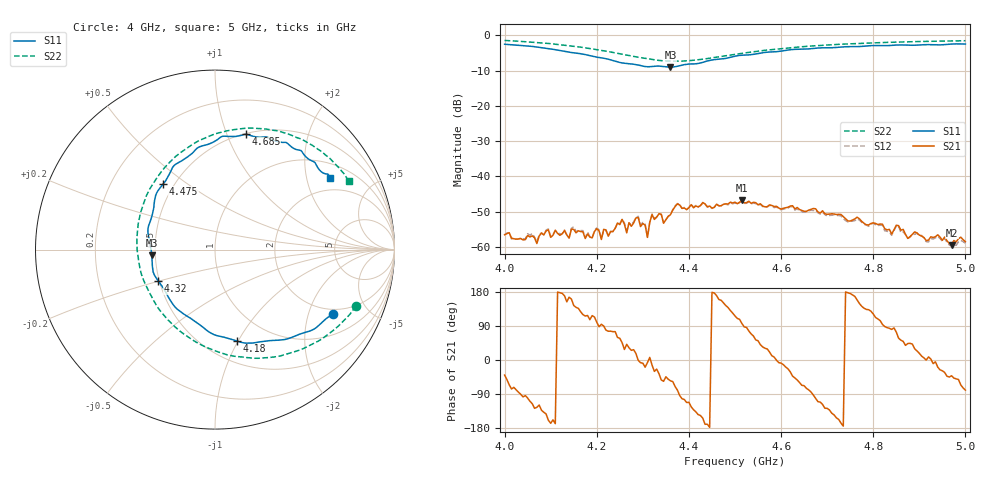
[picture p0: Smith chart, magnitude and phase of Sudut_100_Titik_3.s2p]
# Hz S RI R 50
! CMT, C1220, 16058040, 17.2.0/1
! Date: 15/08/2018 12:38:19
! Data: Format (Calibration Info)
! Freq  S11: Re/Im (F2)  S21: Re/Im (F2)  S12: Re/Im (F2)  S22: Re/Im (F2)
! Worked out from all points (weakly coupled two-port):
!   201 points, 4 GHz to 5 GHz, reference 50 ohm
!   highest |S21| = -46.80 dB at 4.515 GHz (marker M1); lowest = -59.4 dB at 4.97 GHz (marker M2)
!   lowest |S11| = -9.0 dB at 4.36 GHz (marker M3), VSWR 2.09, Z = 23.9 - j1.75 ohm
!   |S11| at or under -10 dB: nowhere
!   |S22| runs from -7.3 to -1.5 dB; largest |S21 - S12| = 0.00023
!   S11 on the Smith chart (normalised r, x): 4 GHz: 1.78, -2.91; 4.18 GHz: 0.70, -0.99; 4.32 GHz: 0.49, -0.20; 4.475 GHz: 0.44, +0.41; 4.685 GHz: 0.51, +1.17; 5 GHz: 1.51, +2.76
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4e9  0.6564 -0.3594  0.00114 -0.000952  0.00119 -0.000903  0.7856 -0.3142
4.07e9  0.5023 -0.4612  -0.000638 -0.000919  -0.00066 -0.000972  0.6406 -0.4642
4.095e9  0.4218 -0.491  -0.00164 -0.000625  -0.00166 -0.000706  0.5715 -0.5119
4.17e9  0.1555 -0.5189  -0.000814 0.00142  -0.000906 0.00144  0.3034 -0.6011
4.18e9  0.1224 -0.51  -0.000706 0.00135  -0.000727 0.00146  0.2608 -0.6038
4.21e9  0.0126 -0.4797  -9.52e-05 0.00127  -7.04e-05 0.00131  0.1315 -0.5967
4.255e9  -0.1366 -0.3823  0.00172 0.00176  0.0017 0.0018  -0.0656 -0.5363
4.265e9  -0.1766 -0.3571  0.00119 0.00105  0.00129 0.00108  -0.1071 -0.5142
4.29e9  -0.2444 -0.2895  0.00261 -4.23e-05  0.00272 -0.000105  -0.2097 -0.4417
4.31e9  -0.2902 -0.2111  0.00136 -0.000162  0.00136 -0.000184  -0.279 -0.3719
4.32e9  -0.3168 -0.1744  0.0028 -0.000671  0.00285 -0.000678  -0.3117 -0.3327
4.335e9  -0.3444 -0.1249  0.00238 -0.00175  0.00233 -0.00185  -0.3507 -0.2673
4.36e9  -0.3518 -0.0319  0.00165 -0.00235  0.00158 -0.0024  -0.4053 -0.1522
4.375e9  -0.3625 0.0383  0.000744 -0.004  0.000648 -0.00408  -0.4232 -0.0768
4.475e9  -0.2884 0.3671  -0.0035 0.00199  -0.00352 0.00205  -0.3381 0.3772
4.5e9  -0.2428 0.4448  -0.00191 0.00387  -0.00182 0.00382  -0.2782 0.4595
4.515e9  -0.222 0.4737  -0.000499 0.00454  -0.000433 0.00447  -0.2367 0.5028
4.67e9  0.144 0.636  -0.000154 -0.00351  -0.000183 -0.00328  0.2085 0.6767
4.685e9  0.1703 0.642  -0.00109 -0.00282  -0.00108 -0.00272  0.2476 0.6743
4.835e9  0.449 0.5588  0.000198 0.00176  0.000188 0.00163  0.5514 0.5749
4.97e9  0.6235 0.4212  0.000799 -0.000712  0.000754 -0.000696  0.7194 0.4207
5e9  0.6392 0.397  0.000217 -0.00117  0.000264 -0.0011  0.7473 0.3814
